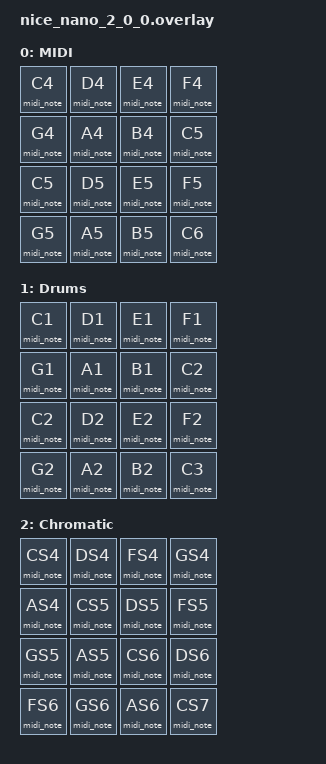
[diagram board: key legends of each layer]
/ {
    keymap {
        compatible = "zmk,keymap";

        /* 
         * Layer 0: MIDI - Chromatic scale (Octave 4-5)
         * 
         * Natural notes across two octaves:
         * Row 1: C4  D4  E4  F4
         * Row 2: G4  A4  B4  C5
         * Row 3: C5  D5  E5  F5
         * Row 4: G5  A5  B5  C6
         */
        midi_layer {
            label = "MIDI";
            bindings = <
                &midi_note C4   &midi_note D4   &midi_note E4   &midi_note F4
                &midi_note G4   &midi_note A4   &midi_note B4   &midi_note C5
                &midi_note C5   &midi_note D5   &midi_note E5   &midi_note F5
                &midi_note G5   &midi_note A5   &midi_note B5   &midi_note C6
            >;
        };

        /* 
         * Layer 1: Drum pads (low octave for percussion)
         * Row 1: C1  D1  E1  F1
         * Row 2: G1  A1  B1  C2
         * Row 3: C2  D2  E2  F2
         * Row 4: G2  A2  B2  C3
         */
        drum_layer {
            label = "Drums";
            bindings = <
                &midi_note C1   &midi_note D1   &midi_note E1   &midi_note F1
                &midi_note G1   &midi_note A1   &midi_note B1   &midi_note C2
                &midi_note C2   &midi_note D2   &midi_note E2   &midi_note F2
                &midi_note G2   &midi_note A2   &midi_note B2   &midi_note C3
            >;
        };

        /* 
         * Layer 2: Extended chromatic with sharps/flats
         * Row 1: C#4 D#4 F#4 G#4
         * Row 2: A#4 C#5 D#5 F#5
         * Row 3: G#5 A#5 C#6 D#6
         * Row 4: F#6 G#6 A#6 C#7
         */
        chromatic_layer {
            label = "Chromatic";
            bindings = <
                &midi_note CS4  &midi_note DS4  &midi_note FS4  &midi_note GS4
                &midi_note AS4  &midi_note CS5  &midi_note DS5  &midi_note FS5
                &midi_note GS5  &midi_note AS5  &midi_note CS6  &midi_note DS6
                &midi_note FS6  &midi_note GS6  &midi_note AS6  &midi_note CS7
            >;
        };
    };
};
